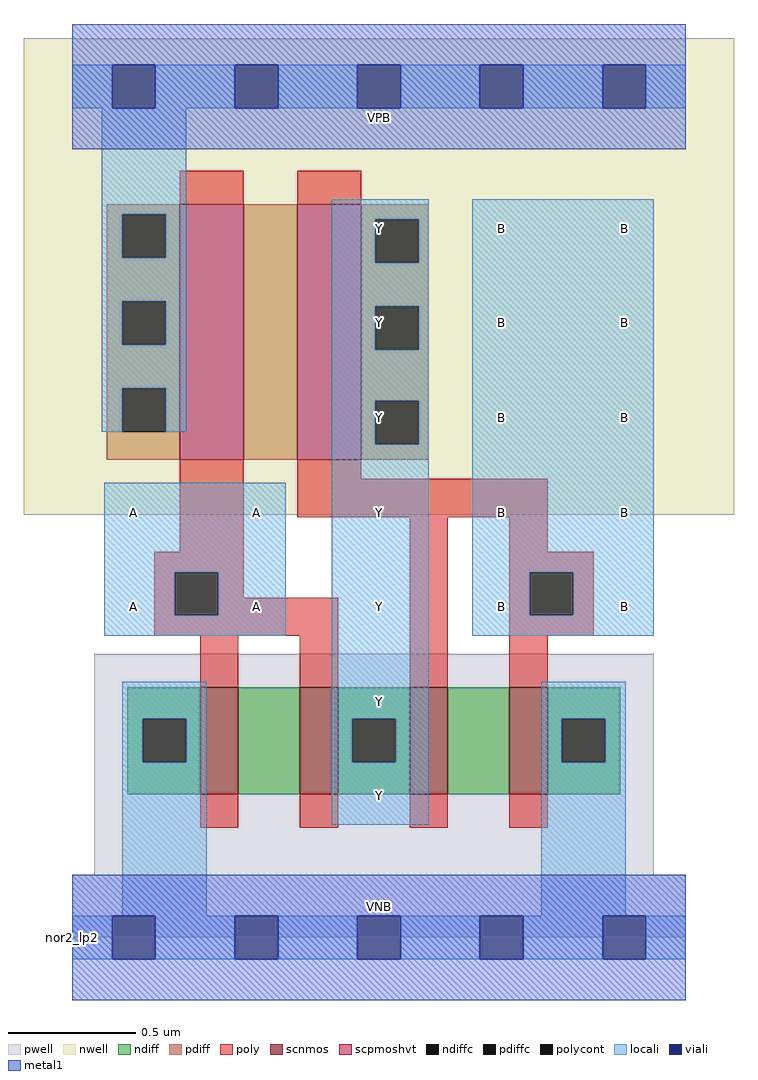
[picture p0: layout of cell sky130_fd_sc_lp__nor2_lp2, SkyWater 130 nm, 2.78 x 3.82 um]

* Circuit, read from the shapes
.subckt sky130_fd_sc_lp__nor2_lp2 A B VGND VNB VPB VPWR Y
XM1 n1 A VGND VNB sky130_fd_pr__nfet_01v8 w=0.42 l=0.15
XM2 Y A n1 VNB sky130_fd_pr__nfet_01v8 w=0.42 l=0.15
XM3 n2 B Y VNB sky130_fd_pr__nfet_01v8 w=0.42 l=0.15
XM4 VGND B n2 VNB sky130_fd_pr__nfet_01v8 w=0.42 l=0.15
XM5 n3 A VPWR VPB sky130_fd_pr__pfet_01v8_hvt w=1 l=0.25
XM6 Y B n3 VPB sky130_fd_pr__pfet_01v8_hvt w=1 l=0.25
.ends

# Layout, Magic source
magic
tech sky130A
magscale 1 2
<< nwell >>
rect -38 331 518 704
<< pwell >>
rect 17 49 455 222
rect 0 0 480 49
<< scnmos >>
rect 100 112 130 196
rect 178 112 208 196
rect 264 112 294 196
rect 342 112 372 196
<< scpmoshvt >>
rect 84 374 134 574
rect 176 374 226 574
<< ndiff >>
rect 43 171 100 196
rect 43 137 55 171
rect 89 137 100 171
rect 43 112 100 137
rect 130 112 178 196
rect 208 171 264 196
rect 208 137 219 171
rect 253 137 264 171
rect 208 112 264 137
rect 294 112 342 196
rect 372 171 429 196
rect 372 137 383 171
rect 417 137 429 171
rect 372 112 429 137
<< pdiff >>
rect 27 566 84 574
rect 27 532 39 566
rect 73 532 84 566
rect 27 498 84 532
rect 27 464 39 498
rect 73 464 84 498
rect 27 430 84 464
rect 27 396 39 430
rect 73 396 84 430
rect 27 374 84 396
rect 134 374 176 574
rect 226 562 279 574
rect 226 528 237 562
rect 271 528 279 562
rect 226 494 279 528
rect 226 460 237 494
rect 271 460 279 494
rect 226 420 279 460
rect 226 386 237 420
rect 271 386 279 420
rect 226 374 279 386
<< ndiffc >>
rect 55 137 89 171
rect 219 137 253 171
rect 383 137 417 171
<< pdiffc >>
rect 39 532 73 566
rect 39 464 73 498
rect 39 396 73 430
rect 237 528 271 562
rect 237 460 271 494
rect 237 386 271 420
<< poly >>
rect 84 574 134 600
rect 176 574 226 600
rect 84 302 134 374
rect 176 359 226 374
rect 176 329 372 359
rect 64 286 134 302
rect 64 252 80 286
rect 114 266 134 286
rect 114 252 208 266
rect 64 236 208 252
rect 100 196 130 236
rect 178 196 208 236
rect 264 196 294 329
rect 342 302 372 329
rect 342 286 408 302
rect 342 252 358 286
rect 392 252 408 286
rect 342 236 408 252
rect 342 196 372 236
rect 100 86 130 112
rect 178 86 208 112
rect 264 86 294 112
rect 342 86 372 112
<< polycont >>
rect 80 252 114 286
rect 358 252 392 286
<< locali >>
rect 0 649 31 683
rect 65 649 127 683
rect 161 649 223 683
rect 257 649 319 683
rect 353 649 415 683
rect 449 649 480 683
rect 23 566 89 649
rect 23 532 39 566
rect 73 532 89 566
rect 23 498 89 532
rect 23 464 39 498
rect 73 464 89 498
rect 23 430 89 464
rect 23 396 39 430
rect 73 396 89 430
rect 203 562 279 578
rect 203 528 237 562
rect 271 528 279 562
rect 203 494 279 528
rect 203 460 237 494
rect 271 460 279 494
rect 203 420 279 460
rect 203 386 237 420
rect 271 386 279 420
rect 25 286 167 356
rect 25 252 80 286
rect 114 252 167 286
rect 25 236 167 252
rect 39 171 105 200
rect 39 137 55 171
rect 89 137 105 171
rect 39 17 105 137
rect 203 171 279 386
rect 313 286 455 578
rect 313 252 358 286
rect 392 252 455 286
rect 313 236 455 252
rect 203 137 219 171
rect 253 137 279 171
rect 203 88 279 137
rect 367 171 433 200
rect 367 137 383 171
rect 417 137 433 171
rect 367 17 433 137
rect 0 -17 31 17
rect 65 -17 127 17
rect 161 -17 223 17
rect 257 -17 319 17
rect 353 -17 415 17
rect 449 -17 480 17
<< viali >>
rect 31 649 65 683
rect 127 649 161 683
rect 223 649 257 683
rect 319 649 353 683
rect 415 649 449 683
rect 31 -17 65 17
rect 127 -17 161 17
rect 223 -17 257 17
rect 319 -17 353 17
rect 415 -17 449 17
<< metal1 >>
rect 0 683 480 715
rect 0 649 31 683
rect 65 649 127 683
rect 161 649 223 683
rect 257 649 319 683
rect 353 649 415 683
rect 449 649 480 683
rect 0 617 480 649
rect 0 17 480 49
rect 0 -17 31 17
rect 65 -17 127 17
rect 161 -17 223 17
rect 257 -17 319 17
rect 353 -17 415 17
rect 449 -17 480 17
rect 0 -49 480 -17
<< labels >>
flabel pwell s 0 0 480 49 0 FreeSans 200 0 0 0 VNB
port 4 nsew ground bidirectional
flabel nwell s 0 617 480 666 0 FreeSans 200 0 0 0 VPB
port 5 nsew power bidirectional
rlabel comment s 0 0 0 0 4 nor2_lp2
flabel metal1 s 0 617 480 666 0 FreeSans 340 0 0 0 VPWR
port 6 nsew power bidirectional
flabel metal1 s 0 0 480 49 0 FreeSans 340 0 0 0 VGND
port 3 nsew ground bidirectional
flabel locali s 319 242 353 276 0 FreeSans 340 0 0 0 B
port 2 nsew signal input
flabel locali s 319 316 353 350 0 FreeSans 340 0 0 0 B
port 2 nsew signal input
flabel locali s 319 390 353 424 0 FreeSans 340 0 0 0 B
port 2 nsew signal input
flabel locali s 319 464 353 498 0 FreeSans 340 0 0 0 B
port 2 nsew signal input
flabel locali s 319 538 353 572 0 FreeSans 340 0 0 0 B
port 2 nsew signal input
flabel locali s 415 242 449 276 0 FreeSans 340 0 0 0 B
port 2 nsew signal input
flabel locali s 415 316 449 350 0 FreeSans 340 0 0 0 B
port 2 nsew signal input
flabel locali s 415 390 449 424 0 FreeSans 340 0 0 0 B
port 2 nsew signal input
flabel locali s 415 464 449 498 0 FreeSans 340 0 0 0 B
port 2 nsew signal input
flabel locali s 415 538 449 572 0 FreeSans 340 0 0 0 B
port 2 nsew signal input
flabel locali s 31 242 65 276 0 FreeSans 340 0 0 0 A
port 1 nsew signal input
flabel locali s 31 316 65 350 0 FreeSans 340 0 0 0 A
port 1 nsew signal input
flabel locali s 127 242 161 276 0 FreeSans 340 0 0 0 A
port 1 nsew signal input
flabel locali s 127 316 161 350 0 FreeSans 340 0 0 0 A
port 1 nsew signal input
flabel locali s 223 94 257 128 0 FreeSans 340 0 0 0 Y
port 7 nsew signal output
flabel locali s 223 168 257 202 0 FreeSans 340 0 0 0 Y
port 7 nsew signal output
flabel locali s 223 242 257 276 0 FreeSans 340 0 0 0 Y
port 7 nsew signal output
flabel locali s 223 316 257 350 0 FreeSans 340 0 0 0 Y
port 7 nsew signal output
flabel locali s 223 390 257 424 0 FreeSans 340 0 0 0 Y
port 7 nsew signal output
flabel locali s 223 464 257 498 0 FreeSans 340 0 0 0 Y
port 7 nsew signal output
flabel locali s 223 538 257 572 0 FreeSans 340 0 0 0 Y
port 7 nsew signal output
<< properties >>
string LEFsite unit
string LEFclass CORE
string FIXED_BBOX 0 0 480 666
string GDS_FILE $PDKPATH/libs.ref/sky130_fd_sc_lp/gds/sky130_fd_sc_lp.gds
string LEFsymmetry X Y R90
string GDS_END 5289350
string GDS_START 5283282
<< end >>
